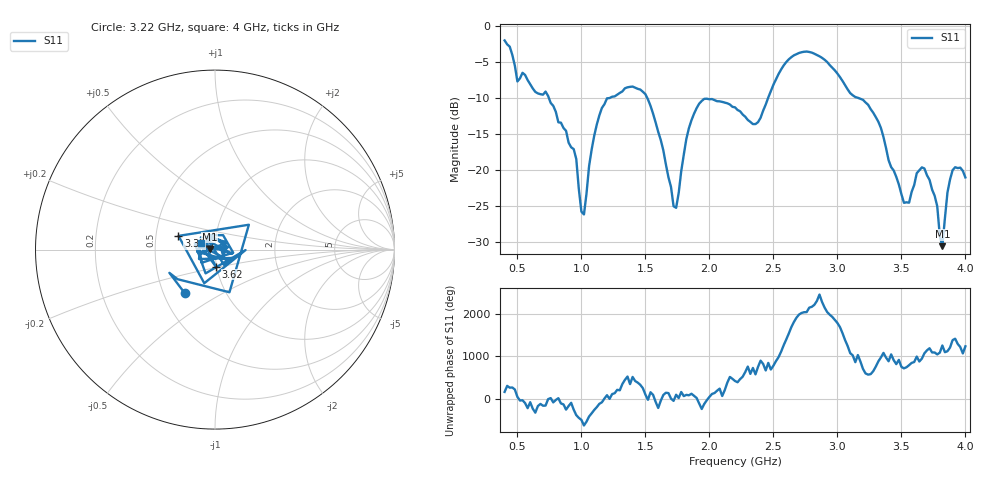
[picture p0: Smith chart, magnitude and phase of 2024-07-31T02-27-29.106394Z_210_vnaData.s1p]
!Created with skrf (http://scikit-rf.org).
# Hz S RI R 50.0
!freq ReS11 ImS11
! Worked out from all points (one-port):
!   181 points, 400 MHz to 4 GHz, reference 50 ohm
!   lowest |S11| = -30.6 dB at 3.82 GHz (marker M1), VSWR 1.06, Z = 47.1 + j0.299 ohm
!   |S11| at or under -10 dB: 746.7 MHz to 1.202 GHz (455.4 MHz wide, 46.7 % of centre); 1.516 GHz to 2.458 GHz (942 MHz wide, 47.4 % of centre); 3.17 GHz to end of sweep
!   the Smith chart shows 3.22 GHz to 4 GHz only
!   S11 on the Smith chart (normalised r, x): 3.22 GHz: 0.64, -0.34; 3.32 GHz: 0.66, +0.11; 3.62 GHz: 0.99, -0.19; 4 GHz: 0.85, +0.06
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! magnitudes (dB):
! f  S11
! 400 MHz  -2.0
! 500 MHz  -7.7
! 720 MHz  -9.1
! 860 MHz  -14.1
! 960 MHz  -18.5
! 1 GHz  -25.8
! 1.02 GHz  -26.2
! 1.14 GHz  -12.4
! 1.3 GHz  -9.3
! 1.5 GHz  -9.4
! 1.72 GHz  -25.0
! 1.76 GHz  -23.2
! 1.82 GHz  -15.6
! 1.92 GHz  -10.8
! 2.2 GHz  -11.3
! 2.38 GHz  -13.3
! 2.66 GHz  -4.0
! 2.88 GHz  -4.4
! 3.1 GHz  -9.3
! 3.22 GHz  -10.6
! 3.32 GHz  -13.3
! 3.56 GHz  -24.5
! 3.62 GHz  -20.4
! 3.72 GHz  -21.3
! 3.82 GHz  -30.6
! 3.86 GHz  -23.1
! 3.9 GHz  -20.0
! 4 GHz  -21.0
